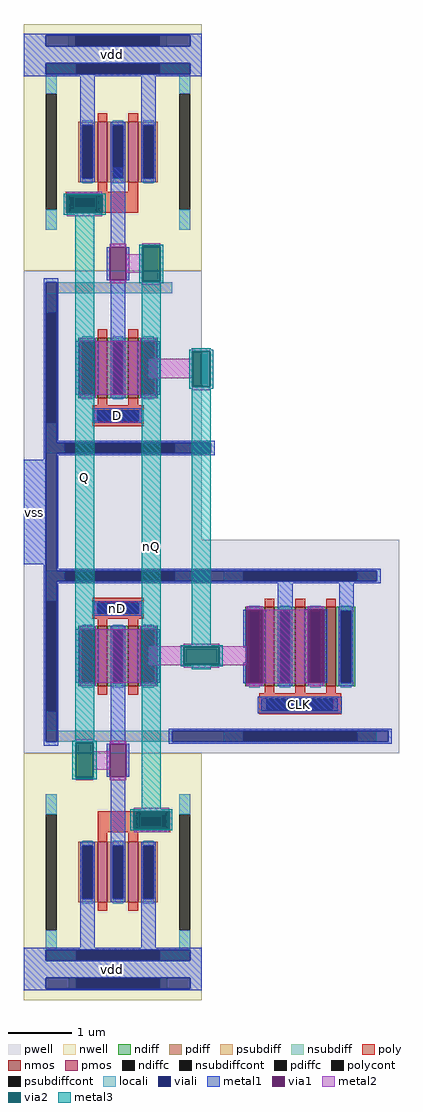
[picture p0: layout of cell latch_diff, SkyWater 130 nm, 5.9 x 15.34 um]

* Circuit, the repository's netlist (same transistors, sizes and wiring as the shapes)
**.subckt latch_diff vdd vss D nQ CLK nD Q
*.iopin vdd
*.iopin vss
*.ipin D
*.opin nQ
*.ipin CLK
*.ipin nD
*.opin Q
XM3 net1 CLK vss vss sky130_fd_pr__nfet_01v8 L=0.15 W=1.25 nf=1 ad='int((nf+1)/2) * W/nf * 0.29' as='int((nf+2)/2) * W/nf * 0.29'
+ pd='2*int((nf+1)/2) * (W/nf + 0.29)' ps='2*int((nf+2)/2) * (W/nf + 0.29)' nrd='0.29 / W' nrs='0.29 / W'
+ sa=0 sb=0 sd=0 mult=3 m=3 
XM4 nQ Q vdd vdd sky130_fd_pr__pfet_01v8 L=0.15 W=0.95 nf=1 ad='int((nf+1)/2) * W/nf * 0.29' as='int((nf+2)/2) * W/nf * 0.29'
+ pd='2*int((nf+1)/2) * (W/nf + 0.29)' ps='2*int((nf+2)/2) * (W/nf + 0.29)' nrd='0.29 / W' nrs='0.29 / W'
+ sa=0 sb=0 sd=0 mult=2 m=2 
XM5 Q nQ vdd vdd sky130_fd_pr__pfet_01v8 L=0.15 W=0.95 nf=1 ad='int((nf+1)/2) * W/nf * 0.29' as='int((nf+2)/2) * W/nf * 0.29'
+ pd='2*int((nf+1)/2) * (W/nf + 0.29)' ps='2*int((nf+2)/2) * (W/nf + 0.29)' nrd='0.29 / W' nrs='0.29 / W'
+ sa=0 sb=0 sd=0 mult=2 m=2 
XM1 nQ D net1 vss sky130_fd_pr__nfet_01v8 L=0.15 W=0.95 nf=1 ad='int((nf+1)/2) * W/nf * 0.29' as='int((nf+2)/2) * W/nf * 0.29'
+ pd='2*int((nf+1)/2) * (W/nf + 0.29)' ps='2*int((nf+2)/2) * (W/nf + 0.29)' nrd='0.29 / W' nrs='0.29 / W'
+ sa=0 sb=0 sd=0 mult=2 m=2 
XM2 Q nD net1 vss sky130_fd_pr__nfet_01v8 L=0.15 W=0.95 nf=1 ad='int((nf+1)/2) * W/nf * 0.29' as='int((nf+2)/2) * W/nf * 0.29'
+ pd='2*int((nf+1)/2) * (W/nf + 0.29)' ps='2*int((nf+2)/2) * (W/nf + 0.29)' nrd='0.29 / W' nrs='0.29 / W'
+ sa=0 sb=0 sd=0 mult=2 m=2 
**.ends
** flattened .save nodes
.end

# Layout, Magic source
magic
tech sky130A
magscale 1 2
<< nwell >>
rect -33 2264 526 2352
rect -33 2261 525 2264
rect -33 2137 307 2261
rect -33 1900 340 2137
rect -33 1576 526 1900
rect -33 -1 526 60
rect -33 -628 0 -1
rect -33 -716 526 -628
<< pwell >>
rect -33 1030 0 1576
rect -33 967 503 1030
rect -33 669 526 967
rect -33 668 503 669
rect -33 60 0 668
<< psubdiff >>
rect 36 1506 434 1540
rect 36 563 70 1027
rect 453 1002 555 1036
rect 424 600 633 634
rect 36 130 70 182
rect 36 96 613 130
<< nsubdiff >>
rect 107 2282 131 2316
rect 393 2282 417 2316
rect 108 -680 132 -646
rect 394 -680 418 -646
<< nsubdiffcont >>
rect 131 2282 393 2316
rect 132 -680 394 -646
<< poly >>
rect 99 1807 230 1824
rect 99 1773 124 1807
rect 192 1773 230 1807
rect 99 1758 230 1773
rect 296 -137 427 -122
rect 296 -171 334 -137
rect 402 -171 427 -137
rect 296 -188 427 -171
<< polycont >>
rect 124 1773 192 1807
rect 334 -171 402 -137
<< locali >>
rect 108 1773 124 1807
rect 192 1773 208 1807
rect 70 1506 434 1540
rect 70 96 434 130
rect 318 -171 334 -137
rect 402 -171 418 -137
<< viali >>
rect 36 2282 131 2316
rect 131 2282 393 2316
rect 393 2282 490 2316
rect 36 2194 490 2228
rect 124 1773 192 1807
rect 36 1036 70 1540
rect 36 1002 555 1036
rect 36 634 70 1002
rect 36 600 1077 634
rect 36 96 70 600
rect 434 96 1112 130
rect 334 -171 402 -137
rect 36 -592 490 -558
rect 36 -680 132 -646
rect 132 -680 394 -646
rect 394 -680 490 -646
<< metal1 >>
rect -33 2316 526 2322
rect -33 2282 36 2316
rect 490 2282 526 2316
rect -33 2228 526 2282
rect -33 2194 36 2228
rect 490 2194 526 2228
rect -33 2188 526 2194
rect 144 2045 190 2188
rect 336 2045 382 2188
rect 102 1761 112 1813
rect 194 1761 204 1813
rect 240 1651 286 1901
rect 30 1540 76 1552
rect 227 1547 237 1651
rect 289 1547 299 1651
rect 30 982 36 1540
rect 70 1042 76 1540
rect 240 1366 286 1547
rect 198 1104 328 1138
rect 70 1036 567 1042
rect 555 1002 567 1036
rect -33 654 36 982
rect 30 96 36 654
rect 70 996 567 1002
rect 70 640 76 996
rect 70 634 1089 640
rect 1077 600 1089 634
rect 70 594 1089 600
rect 70 96 76 594
rect 198 498 328 532
rect 766 519 812 594
rect 958 519 1004 594
rect 657 392 667 511
rect 657 280 667 346
rect 719 280 729 511
rect 849 281 859 512
rect 911 281 921 512
rect 30 84 76 96
rect 240 89 286 270
rect 714 192 954 232
rect 422 130 1124 136
rect 422 96 434 130
rect 1112 96 1124 130
rect 422 90 1124 96
rect 227 -15 237 89
rect 289 -15 299 89
rect 240 -219 286 -15
rect 322 -177 332 -125
rect 414 -177 424 -125
rect 144 -552 190 -408
rect 336 -552 382 -399
rect -33 -558 526 -552
rect -33 -592 36 -558
rect 490 -592 526 -558
rect -33 -646 526 -592
rect -33 -680 36 -646
rect 490 -680 526 -646
rect -33 -686 526 -680
<< via1 >>
rect 112 1807 194 1813
rect 112 1773 124 1807
rect 124 1773 192 1807
rect 192 1773 194 1807
rect 112 1761 194 1773
rect 237 1547 289 1651
rect 667 280 719 511
rect 859 281 911 512
rect 237 -15 289 89
rect 332 -137 414 -125
rect 332 -171 334 -137
rect 334 -171 402 -137
rect 402 -171 414 -137
rect 332 -177 414 -171
<< metal2 >>
rect 102 1814 214 1824
rect 102 1748 214 1758
rect 237 1651 289 1661
rect 340 1653 396 1663
rect 289 1570 340 1629
rect 237 1537 289 1547
rect 396 1570 398 1629
rect 340 1532 396 1542
rect 497 1323 553 1333
rect 359 1239 497 1299
rect 497 1201 553 1211
rect 667 511 719 521
rect 859 512 911 522
rect 470 396 582 404
rect 360 394 667 396
rect 360 338 470 394
rect 582 338 667 394
rect 360 336 667 338
rect 470 328 582 336
rect 719 281 859 511
rect 719 280 911 281
rect 667 270 719 280
rect 859 271 911 280
rect 130 94 186 104
rect 128 7 130 66
rect 237 89 289 99
rect 186 7 237 66
rect 130 -26 186 -17
rect 237 -25 289 -15
rect 312 -122 424 -112
rect 312 -188 424 -178
<< via2 >>
rect 102 1813 214 1814
rect 102 1761 112 1813
rect 112 1761 194 1813
rect 194 1761 214 1813
rect 102 1758 214 1761
rect 340 1542 396 1653
rect 497 1211 553 1323
rect 470 338 582 394
rect 130 -17 186 94
rect 312 -125 424 -122
rect 312 -177 332 -125
rect 332 -177 414 -125
rect 414 -177 424 -125
rect 312 -178 424 -177
<< metal3 >>
rect 92 1814 224 1819
rect 92 1758 102 1814
rect 214 1758 224 1814
rect 92 1753 224 1758
rect 128 99 188 1753
rect 330 1653 406 1658
rect 330 1542 340 1653
rect 396 1542 406 1653
rect 330 1537 406 1542
rect 120 94 196 99
rect 120 -17 130 94
rect 186 -17 196 94
rect 120 -22 196 -17
rect 338 -117 398 1537
rect 495 1328 555 1333
rect 487 1323 563 1328
rect 487 1211 497 1323
rect 553 1211 563 1323
rect 487 1206 563 1211
rect 495 399 555 1206
rect 460 394 592 399
rect 460 338 470 394
rect 582 338 592 394
rect 460 333 592 338
rect 495 323 555 333
rect 302 -122 434 -117
rect 302 -178 312 -122
rect 424 -178 434 -122
rect 302 -183 434 -178
use sky130_fd_pr__nfet_01v8_2BS854  sky130_fd_pr__nfet_01v8_2BS854_0
transform 1 0 836 0 1 395
box -311 -335 311 335
use sky130_fd_pr__pfet_01v8_MJG8BZ  sky130_fd_pr__pfet_01v8_MJG8BZ_0
transform 1 0 263 0 1 1950
box -263 -314 263 314
use sky130_fd_pr__pfet_01v8_MJG8BZ *sky130_fd_pr__pfet_01v8_MJG8BZ_1
transform -1 0 263 0 -1 -314
box -263 -314 263 314
use sky130_fd_pr__nfet_01v8_KU9PSX *sky130_fd_pr__nfet_01v8_KU9PSX_1
transform 1 0 263 0 1 1271
box -263 -305 263 305
use sky130_fd_pr__nfet_01v8_KU9PSX *sky130_fd_pr__nfet_01v8_KU9PSX_0
transform 1 0 263 0 -1 365
box -263 -305 263 305
<< labels >>
rlabel metal1 -33 654 36 982 1 vss
rlabel metal1 -33 2228 526 2282 1 vdd
rlabel metal3 128 94 188 1758 1 Q
rlabel metal3 338 -122 398 1542 1 nQ
rlabel metal1 198 1104 328 1138 1 D
rlabel metal1 198 498 328 532 1 nD
rlabel metal1 -33 -646 526 -592 1 vdd
rlabel metal1 714 192 954 232 1 CLK
<< end >>

# cell sky130_fd_pr__nfet_01v8_2BS854: kit device sky130_fd_pr__nfet_01v8, w 1.25 l 0.150 m 1 nf 3 diffcov 100 polycov 100 guard 1 glc 0 grc 1 gtc 1 gbc 1 tbcov 100 rlcov 100 topc 1 botc 0 poverlap 0 doverlap 1 lmin 0.15 wmin 0.42 compatible {sky130_fd_pr__nfet_01v8 sky130_fd_pr__nfet_01v8_lvt sky130_fd_bs_flash__special_sonosfet_star sky130_fd_pr__nfet_g5v0d10v5 sky130_fd_pr__nfet_05v0_nvt sky130_fd_pr__nfet_03v3_nvt} full_metal 1 viasrc 100 viadrn 100 viagate 100 viagb 0 viagr 0 viagl 0 viagt 0

# cell sky130_fd_pr__pfet_01v8_MJG8BZ: kit device sky130_fd_pr__pfet_01v8, w 0.95 l 0.15 m 1 nf 2 diffcov 100 polycov 100 guard 1 glc 1 grc 1 gtc 1 gbc 1 tbcov 100 rlcov 100 topc 1 botc 1 poverlap 0 doverlap 1 lmin 0.15 wmin 0.42 compatible {sky130_fd_pr__pfet_01v8 sky130_fd_pr__pfet_01v8_lvt sky130_fd_pr__pfet_01v8_hvt sky130_fd_pr__pfet_g5v0d10v5} full_metal 1 viasrc 100 viadrn 100 viagate 100 viagb 0 viagr 0 viagl 0 viagt 0

# cell sky130_fd_pr__nfet_01v8_KU9PSX: kit device sky130_fd_pr__nfet_01v8, w 0.95 l 0.150 m 1 nf 2 diffcov 100 polycov 100 guard 1 glc 1 grc 1 gtc 1 gbc 1 tbcov 100 rlcov 100 topc 1 botc 1 poverlap 0 doverlap 1 lmin 0.15 wmin 0.42 compatible {sky130_fd_pr__nfet_01v8 sky130_fd_pr__nfet_01v8_lvt sky130_fd_bs_flash__special_sonosfet_star sky130_fd_pr__nfet_g5v0d10v5 sky130_fd_pr__nfet_05v0_nvt sky130_fd_pr__nfet_03v3_nvt} full_metal 1 viasrc 100 viadrn 100 viagate 100 viagb 0 viagr 0 viagl 0 viagt 0
